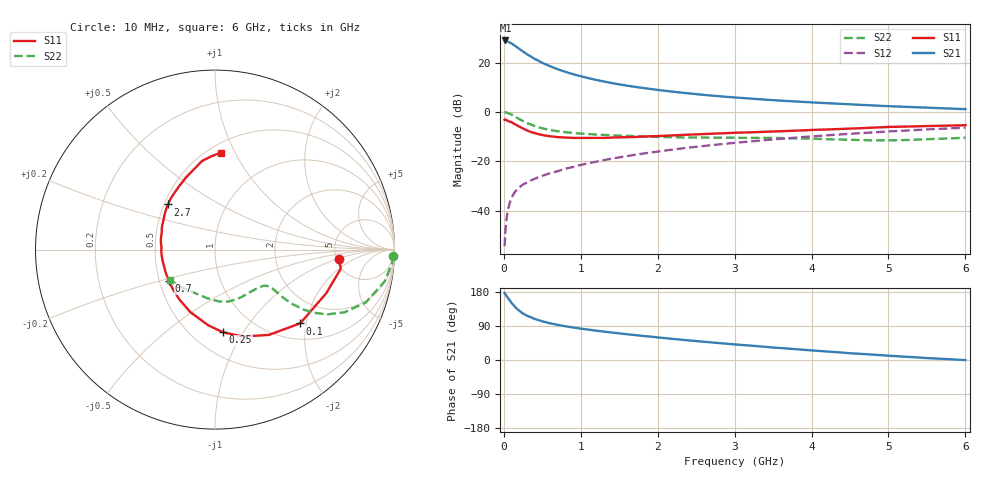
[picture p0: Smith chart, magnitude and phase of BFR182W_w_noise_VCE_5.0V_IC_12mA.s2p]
! Infineon Technologies  Discrete & RF Semiconductors
! BFR182W
! VCE =  5.0 V,  IC =  12 mA
! Common Emitter S-Parameters:  Jan 2017
# GHz  S  MA  R  50
!  f  S11  S21  S12  S22
! GHz  MAG  ANG  MAG  ANG  MAG  ANG  MAG  ANG
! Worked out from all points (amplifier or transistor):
!   77 points, 10 MHz to 6 GHz, reference 50 ohm
!   highest |S21| = 29.1 dB at 20 MHz (marker M1)
!   |S21| within 3 dB of that: start of sweep to 182.6 MHz
!   unconditionally stable (mu >= 1): 1.052 GHz to 2.57 GHz
!   at 130 MHz: K = 0.31, MSG = 30.2 dB, |S12| = -33.1 dB
!   at 2.2 GHz: K = 1.02, MAG = 10.9 dB, |S12| = -15.2 dB
!   at 6 GHz: K = 0.86, MSG = 3.8 dB, |S12| = -6.3 dB
!   lowest NFmin = 1.14 dB at 450 MHz
!   S11 on the Smith chart (normalised r, x): 10 MHz: 5.33, -1.10; 100 MHz: 1.36, -1.85; 250 MHz: 0.70, -0.82; 700 MHz: 0.56, -0.22; 2.7 GHz: 0.52, +0.30; 6 GHz: 0.57, +0.88
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0.01  0.6954 -4.4  28.06 176.4  0.0019 95.0  0.9944 -2.0
0.02  0.7085 -8.7  28.39 173.5  0.0038 90.9  0.9891 -4.4
0.05  0.6663 -21.3  27.11 164.3  0.0097 82.2  0.9623 -10.5
0.1  0.6279 -40.9  24.77 150.5  0.0183 74.7  0.8908 -19.3
0.15  0.5622 -57.7  21.89 139.0  0.0247 66.6  0.8021 -25.8
0.2  0.509 -72.1  19.2 129.9  0.0294 65.0  0.722 -30.0
0.25  0.4635 -84.3  16.91 122.5  0.034 61.1  0.655 -32.5
0.3  0.4246 -94.8  14.93 116.9  0.037 60.9  0.5974 -34.1
0.4  0.3746 -111.5  12.03 108.3  0.0444 60.9  0.5196 -35.2
0.5  0.3422 -125.2  9.981 102.0  0.0509 61.7  0.4679 -35.2
0.6  0.3227 -136.3  8.522 97.0  0.0575 62.9  0.433 -34.8
0.7  0.3106 -145.7  7.403 92.8  0.0632 64.0  0.4083 -34.4
0.9  0.2991 -160.9  5.864 85.8  0.0768 65.3  0.3771 -34.1
1.1  0.2986 -172.7  4.876 80.1  0.0915 66.5  0.3582 -34.7
1.3  0.2988 177.3  4.164 74.9  0.1055 66.7  0.3443 -35.8
1.5  0.307 169.1  3.65 70.3  0.1203 66.5  0.3327 -37.8
2.1  0.3308 150.3  2.699 57.7  0.1659 64.8  0.3112 -47.1
2.7  0.3631 136.1  2.163 46.4  0.2131 61.5  0.3027 -59.4
3.1  0.3838 127.6  1.929 39.6  0.2453 58.8  0.3003 -67.6
4.1  0.4382 110.5  1.543 23.9  0.3286 50.9  0.285 -88.4
5.1  0.5026 97.1  1.298 10.1  0.4117 41.6  0.2681 -119.1
6  0.541 86.7  1.146 -0.3  0.4829 32.6  0.302 -146.1
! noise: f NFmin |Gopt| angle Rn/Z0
0.45  1.14  0.05  71  0.15
0.9  1.22  0.06  102  0.15
1.9  1.71  0.21  -156  0.14
2.4  1.97  0.2  -143  0.21
